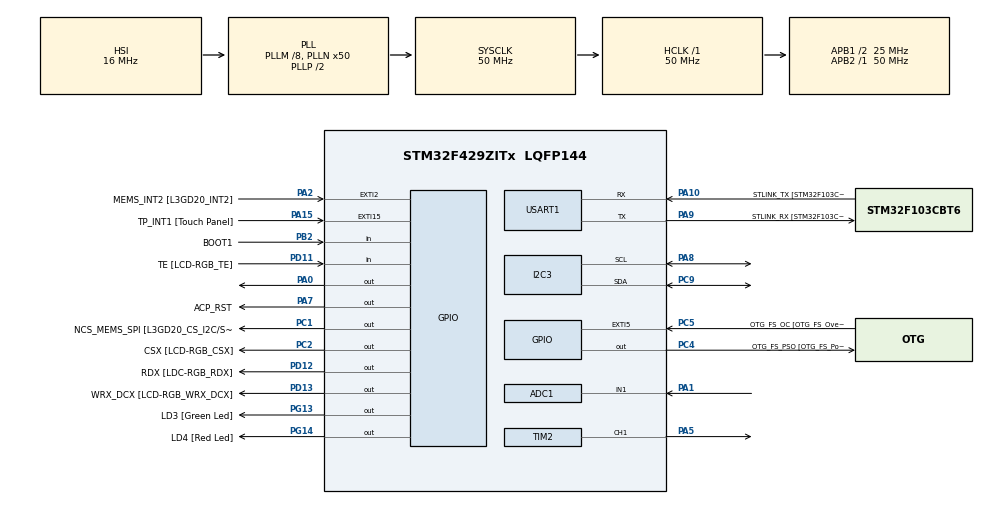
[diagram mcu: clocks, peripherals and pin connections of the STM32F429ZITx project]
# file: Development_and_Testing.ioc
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ADC1.Channel-0\#ChannelRegularConversion=ADC_CHANNEL_1
ADC1.ContinuousConvMode=ENABLE
ADC1.NbrOfConversionFlag=1
ADC1.Rank-0\#ChannelRegularConversion=1
ADC1.SamplingTime-0\#ChannelRegularConversion=ADC_SAMPLETIME_3CYCLES
ADC1.master=1
Mcu.Family=STM32F4
Mcu.Name=STM32F429ZITx
Mcu.Package=LQFP144
NVIC.PriorityGroup=NVIC_PRIORITYGROUP_0
NVIC.TIM2_IRQn=true\:0\:0\:false\:false\:true\:true\:true\:true
PA0/WKUP.Signal=GPIO_Output
PA1.Signal=ADCx_IN1
PA10.GPIO_Label=STLINK_TX [STM32F103CBT6_PA2]
PA10.Mode=Asynchronous
PA10.Signal=USART1_RX
PA11.GPIO_Label=R4
PA11.GPIO_Mode=GPIO_MODE_AF_PP
PA11.GPIO_PuPd=GPIO_NOPULL
PA11.GPIO_Speed=GPIO_SPEED_FREQ_LOW
PA11.Signal=LTDC_R4
PA12.GPIO_Label=R5
PA12.GPIO_Mode=GPIO_MODE_AF_PP
PA12.GPIO_PuPd=GPIO_NOPULL
PA12.GPIO_Speed=GPIO_SPEED_FREQ_LOW
PA12.Signal=LTDC_R5
PA13.GPIO_Label=SWDIO
PA13.Signal=SYS_JTMS-SWDIO
PA14.GPIO_Label=SWCLK
PA14.Signal=SYS_JTCK-SWCLK
PA15.GPIO_Label=TP_INT1 [Touch Panel]
PA15.GPIO_ModeDefaultEXTI=GPIO_MODE_EVT_RISING
PA15.GPIO_PuPd=GPIO_NOPULL
PA15.Signal=GPXTI15
PA2.GPIO_Label=MEMS_INT2 [L3GD20_INT2]
PA2.GPIO_ModeDefaultEXTI=GPIO_MODE_EVT_RISING
PA2.GPIO_PuPd=GPIO_NOPULL
PA2.Signal=GPXTI2
PA3.GPIO_Label=B5
PA3.GPIO_Mode=GPIO_MODE_AF_PP
PA3.GPIO_PuPd=GPIO_NOPULL
PA3.GPIO_Speed=GPIO_SPEED_FREQ_LOW
PA3.Signal=LTDC_B5
PA4.GPIO_Label=VSYNC
PA4.GPIO_Mode=GPIO_MODE_AF_PP
PA4.GPIO_PuPd=GPIO_NOPULL
PA4.GPIO_Speed=GPIO_SPEED_FREQ_LOW
PA4.Signal=LTDC_VSYNC
PA5.Signal=S_TIM2_CH1_ETR
PA6.GPIO_Label=G2
PA6.GPIO_Mode=GPIO_MODE_AF_PP
PA6.GPIO_PuPd=GPIO_NOPULL
PA6.GPIO_Speed=GPIO_SPEED_FREQ_LOW
PA6.Signal=LTDC_G2
PA7.GPIO_Label=ACP_RST
PA7.GPIO_Mode=GPIO_MODE_OUTPUT_PP
PA7.GPIO_PuPd=GPIO_NOPULL
PA7.GPIO_Speed=GPIO_SPEED_FREQ_LOW
PA7.Signal=GPIO_Output
PA8.Mode=I2C
PA8.Signal=I2C3_SCL
PA9.GPIO_Label=STLINK_RX [STM32F103CBT6_PA3]
PA9.Mode=Asynchronous
PA9.Signal=USART1_TX
PB0.GPIO_Label=R3
PB0.GPIO_Mode=GPIO_MODE_AF_PP
PB0.GPIO_PuPd=GPIO_NOPULL
PB0.GPIO_Speed=GPIO_SPEED_FREQ_LOW
PB0.Signal=LTDC_R3
PB1.GPIO_Label=R6
PB1.GPIO_Mode=GPIO_MODE_AF_PP
PB1.GPIO_PuPd=GPIO_NOPULL
PB1.GPIO_Speed=GPIO_SPEED_FREQ_LOW
PB1.Signal=LTDC_R6
PB12.GPIO_Label=OTG_HS_ID
PB12.GPIO_Mode=GPIO_MODE_AF_PP
PB12.GPIO_PuPd=GPIO_NOPULL
PB12.GPIO_Speed=GPIO_SPEED_FREQ_LOW
PB12.Signal=USB_OTG_HS_ID
PB13.GPIO_Label=VBUS_HS
PB13.GPIO_Mode=GPIO_MODE_INPUT
PB13.GPIO_PuPd=GPIO_NOPULL
PB13.Signal=USB_OTG_HS_VBUS
PB14.GPIO_Label=OTG_HS_DM
PB14.GPIO_Mode=GPIO_MODE_AF_PP
PB14.GPIO_PuPd=GPIO_NOPULL
PB14.GPIO_Speed=GPIO_SPEED_FREQ_LOW
PB14.Signal=USB_OTG_HS_DM
PB15.GPIO_Label=OTG_HS_DP
PB15.GPIO_Mode=GPIO_MODE_AF_PP
PB15.GPIO_PuPd=GPIO_NOPULL
PB15.GPIO_Speed=GPIO_SPEED_FREQ_LOW
PB15.Signal=USB_OTG_HS_DP
PB2/BOOT1.GPIO_Label=BOOT1
PB2/BOOT1.GPIO_Mode=GPIO_MODE_INPUT
PB2/BOOT1.GPIO_PuPd=GPIO_NOPULL
PB2/BOOT1.Signal=GPIO_Input
PB5.GPIO_Label=SDCKE1
PB5.GPIO_Mode=GPIO_MODE_AF_PP
PB5.GPIO_PuPd=GPIO_NOPULL
PB5.GPIO_Speed=GPIO_SPEED_FREQ_VERY_HIGH
PB5.Signal=FMC_SDCKE1
PB6.GPIO_Label=SDNE1 [SDRAM_CS]
PB6.GPIO_Mode=GPIO_MODE_AF_PP
PB6.GPIO_PuPd=GPIO_NOPULL
PB6.GPIO_Speed=GPIO_SPEED_FREQ_VERY_HIGH
PB6.Signal=FMC_SDNE1
PB8.GPIO_Label=B6
PB8.GPIO_Mode=GPIO_MODE_AF_PP
PB8.GPIO_PuPd=GPIO_NOPULL
PB8.GPIO_Speed=GPIO_SPEED_FREQ_LOW
PB8.Signal=LTDC_B6
PB9.GPIO_Label=B7
PB9.GPIO_Mode=GPIO_MODE_AF_PP
PB9.GPIO_PuPd=GPIO_NOPULL
PB9.GPIO_Speed=GPIO_SPEED_FREQ_LOW
PB9.Signal=LTDC_B7
PC0.GPIO_Label=SDNWE
PC0.GPIO_Mode=GPIO_MODE_AF_PP
PC0.GPIO_PuPd=GPIO_NOPULL
PC0.GPIO_Speed=GPIO_SPEED_FREQ_VERY_HIGH
PC0.Signal=FMC_SDNWE
PC1.GPIO_Label=NCS_MEMS_SPI [L3GD20_CS_I2C/SPI]
PC1.GPIO_Mode=GPIO_MODE_OUTPUT_PP
PC1.GPIO_PuPd=GPIO_NOPULL
PC1.GPIO_Speed=GPIO_SPEED_FREQ_LOW
PC1.Signal=GPIO_Output
PC10.GPIO_Label=R2
PC10.GPIO_Mode=GPIO_MODE_AF_PP
PC10.GPIO_PuPd=GPIO_NOPULL
PC10.GPIO_Speed=GPIO_SPEED_FREQ_LOW
PC10.Signal=LTDC_R2
PC14/OSC32_IN.GPIO_Label=PC14-OSC32_IN
PC14/OSC32_IN.Signal=RCC_OSC32_IN
PC15/OSC32_OUT.GPIO_Label=PC15-OSC32_OUT
PC15/OSC32_OUT.Signal=RCC_OSC32_OUT
PC2.GPIO_Label=CSX [LCD-RGB_CSX]
PC2.GPIO_Mode=GPIO_MODE_OUTPUT_PP
PC2.GPIO_PuPd=GPIO_NOPULL
PC2.GPIO_Speed=GPIO_SPEED_FREQ_LOW
PC2.Signal=GPIO_Output
PC4.GPIO_Label=OTG_FS_PSO [OTG_FS_PowerSwitchOn]
PC4.GPIO_Mode=GPIO_MODE_OUTPUT_PP
PC4.GPIO_PuPd=GPIO_NOPULL
PC4.GPIO_Speed=GPIO_SPEED_FREQ_LOW
PC4.Signal=GPIO_Output
PC5.GPIO_Label=OTG_FS_OC [OTG_FS_OverCurrent]
PC5.GPIO_ModeDefaultEXTI=GPIO_MODE_EVT_RISING
PC5.Signal=GPXTI5
PC6.GPIO_Label=HSYNC
PC6.GPIO_Mode=GPIO_MODE_AF_PP
PC6.GPIO_PuPd=GPIO_NOPULL
PC6.GPIO_Speed=GPIO_SPEED_FREQ_LOW
PC6.Signal=LTDC_HSYNC
PC7.GPIO_Label=G6
PC7.GPIO_Mode=GPIO_MODE_AF_PP
PC7.GPIO_PuPd=GPIO_NOPULL
PC7.GPIO_Speed=GPIO_SPEED_FREQ_LOW
PC7.Signal=LTDC_G6
PC9.Mode=I2C
PC9.Signal=I2C3_SDA
PD0.GPIO_Label=D2
PD0.GPIO_Mode=GPIO_MODE_AF_PP
PD0.GPIO_PuPd=GPIO_NOPULL
PD0.GPIO_Speed=GPIO_SPEED_FREQ_VERY_HIGH
PD0.Signal=FMC_D2_DA2
PD1.GPIO_Label=D3
PD1.GPIO_Mode=GPIO_MODE_AF_PP
PD1.GPIO_PuPd=GPIO_NOPULL
PD1.GPIO_Speed=GPIO_SPEED_FREQ_VERY_HIGH
PD1.Signal=FMC_D3_DA3
PD10.GPIO_Label=D15
PD10.GPIO_Mode=GPIO_MODE_AF_PP
PD10.GPIO_PuPd=GPIO_NOPULL
PD10.GPIO_Speed=GPIO_SPEED_FREQ_VERY_HIGH
PD10.Signal=FMC_D15_DA15
PD11.GPIO_Label=TE [LCD-RGB_TE]
PD11.GPIO_Mode=GPIO_MODE_INPUT
PD11.GPIO_PuPd=GPIO_NOPULL
PD11.Signal=GPIO_Input
PD12.GPIO_Label=RDX [LDC-RGB_RDX]
PD12.GPIO_Mode=GPIO_MODE_OUTPUT_PP
PD12.GPIO_PuPd=GPIO_NOPULL
PD12.GPIO_Speed=GPIO_SPEED_FREQ_LOW
PD12.Signal=GPIO_Output
PD13.GPIO_Label=WRX_DCX [LCD-RGB_WRX_DCX]
PD13.GPIO_Mode=GPIO_MODE_OUTPUT_PP
PD13.GPIO_PuPd=GPIO_NOPULL
PD13.GPIO_Speed=GPIO_SPEED_FREQ_LOW
PD13.Signal=GPIO_Output
PD14.GPIO_Label=D0
PD14.GPIO_Mode=GPIO_MODE_AF_PP
PD14.GPIO_PuPd=GPIO_NOPULL
PD14.GPIO_Speed=GPIO_SPEED_FREQ_VERY_HIGH
PD14.Signal=FMC_D0_DA0
PD15.GPIO_Label=D1
PD15.GPIO_Mode=GPIO_MODE_AF_PP
PD15.GPIO_PuPd=GPIO_NOPULL
PD15.GPIO_Speed=GPIO_SPEED_FREQ_VERY_HIGH
PD15.Signal=FMC_D1_DA1
PD3.GPIO_Label=G7
PD3.GPIO_Mode=GPIO_MODE_AF_PP
PD3.GPIO_PuPd=GPIO_NOPULL
PD3.GPIO_Speed=GPIO_SPEED_FREQ_LOW
PD3.Signal=LTDC_G7
PD6.GPIO_Label=B2
PD6.GPIO_Mode=GPIO_MODE_AF_PP
PD6.GPIO_PuPd=GPIO_NOPULL
PD6.GPIO_Speed=GPIO_SPEED_FREQ_LOW
PD6.Signal=LTDC_B2
PD8.GPIO_Label=D13
PD8.GPIO_Mode=GPIO_MODE_AF_PP
PD8.GPIO_PuPd=GPIO_NOPULL
PD8.GPIO_Speed=GPIO_SPEED_FREQ_VERY_HIGH
PD8.Signal=FMC_D13_DA13
PD9.GPIO_Label=D14
PD9.GPIO_Mode=GPIO_MODE_AF_PP
PD9.GPIO_PuPd=GPIO_NOPULL
PD9.GPIO_Speed=GPIO_SPEED_FREQ_VERY_HIGH
PD9.Signal=FMC_D14_DA14
PE0.GPIO_Label=NBL0 [SDRAM_LDQM]
PE0.GPIO_Mode=GPIO_MODE_AF_PP
PE0.GPIO_PuPd=GPIO_NOPULL
PE0.GPIO_Speed=GPIO_SPEED_FREQ_VERY_HIGH
PE0.Signal=FMC_NBL0
PE1.GPIO_Label=NBL1 [SDRAM_UDQM]
PE1.GPIO_Mode=GPIO_MODE_AF_PP
PE1.GPIO_PuPd=GPIO_NOPULL
PE1.GPIO_Speed=GPIO_SPEED_FREQ_VERY_HIGH
PE1.Signal=FMC_NBL1
PE10.GPIO_Label=D7
PE10.GPIO_Mode=GPIO_MODE_AF_PP
PE10.GPIO_PuPd=GPIO_NOPULL
PE10.GPIO_Speed=GPIO_SPEED_FREQ_VERY_HIGH
PE10.Signal=FMC_D7_DA7
PE11.GPIO_Label=D8
PE11.GPIO_Mode=GPIO_MODE_AF_PP
PE11.GPIO_PuPd=GPIO_NOPULL
PE11.GPIO_Speed=GPIO_SPEED_FREQ_VERY_HIGH
PE11.Signal=FMC_D8_DA8
PE12.GPIO_Label=D9
PE12.GPIO_Mode=GPIO_MODE_AF_PP
PE12.GPIO_PuPd=GPIO_NOPULL
PE12.GPIO_Speed=GPIO_SPEED_FREQ_VERY_HIGH
PE12.Signal=FMC_D9_DA9
PE13.GPIO_Label=D10
PE13.GPIO_Mode=GPIO_MODE_AF_PP
PE13.GPIO_PuPd=GPIO_NOPULL
PE13.GPIO_Speed=GPIO_SPEED_FREQ_VERY_HIGH
PE13.Signal=FMC_D10_DA10
PE14.GPIO_Label=D11
PE14.GPIO_Mode=GPIO_MODE_AF_PP
PE14.GPIO_PuPd=GPIO_NOPULL
PE14.GPIO_Speed=GPIO_SPEED_FREQ_VERY_HIGH
PE14.Signal=FMC_D11_DA11
PE15.GPIO_Label=D12
PE15.GPIO_Mode=GPIO_MODE_AF_PP
PE15.GPIO_PuPd=GPIO_NOPULL
PE15.GPIO_Speed=GPIO_SPEED_FREQ_VERY_HIGH
PE15.Signal=FMC_D12_DA12
PE7.GPIO_Label=D4
PE7.GPIO_Mode=GPIO_MODE_AF_PP
PE7.GPIO_PuPd=GPIO_NOPULL
PE7.GPIO_Speed=GPIO_SPEED_FREQ_VERY_HIGH
PE7.Signal=FMC_D4_DA4
PE8.GPIO_Label=D5
PE8.GPIO_Mode=GPIO_MODE_AF_PP
PE8.GPIO_PuPd=GPIO_NOPULL
PE8.GPIO_Speed=GPIO_SPEED_FREQ_VERY_HIGH
PE8.Signal=FMC_D5_DA5
PE9.GPIO_Label=D6
PE9.GPIO_Mode=GPIO_MODE_AF_PP
PE9.GPIO_PuPd=GPIO_NOPULL
PE9.GPIO_Speed=GPIO_SPEED_FREQ_VERY_HIGH
PE9.Signal=FMC_D6_DA6
PF0.GPIO_Label=A0
PF0.GPIO_Mode=GPIO_MODE_AF_PP
PF0.GPIO_PuPd=GPIO_NOPULL
PF0.GPIO_Speed=GPIO_SPEED_FREQ_VERY_HIGH
PF0.Signal=FMC_A0
PF1.GPIO_Label=A1
PF1.GPIO_Mode=GPIO_MODE_AF_PP
PF1.GPIO_PuPd=GPIO_NOPULL
PF1.GPIO_Speed=GPIO_SPEED_FREQ_VERY_HIGH
PF1.Signal=FMC_A1
PF10.GPIO_Label=ENABLE [LCD-RGB_ENABLE]
PF10.GPIO_Mode=GPIO_MODE_AF_PP
PF10.GPIO_PuPd=GPIO_NOPULL
PF10.GPIO_Speed=GPIO_SPEED_FREQ_LOW
PF10.Signal=LTDC_DE
PF11.GPIO_Label=SDNRAS
PF11.GPIO_Mode=GPIO_MODE_AF_PP
PF11.GPIO_PuPd=GPIO_NOPULL
PF11.GPIO_Speed=GPIO_SPEED_FREQ_VERY_HIGH
PF11.Signal=FMC_SDNRAS
PF12.GPIO_Label=A6
PF12.GPIO_Mode=GPIO_MODE_AF_PP
PF12.GPIO_PuPd=GPIO_NOPULL
PF12.GPIO_Speed=GPIO_SPEED_FREQ_VERY_HIGH
PF12.Signal=FMC_A6
PF13.GPIO_Label=A7
PF13.GPIO_Mode=GPIO_MODE_AF_PP
PF13.GPIO_PuPd=GPIO_NOPULL
PF13.GPIO_Speed=GPIO_SPEED_FREQ_VERY_HIGH
PF13.Signal=FMC_A7
PF14.GPIO_Label=A8
PF14.GPIO_Mode=GPIO_MODE_AF_PP
PF14.GPIO_PuPd=GPIO_NOPULL
PF14.GPIO_Speed=GPIO_SPEED_FREQ_VERY_HIGH
PF14.Signal=FMC_A8
PF15.GPIO_Label=A9
PF15.GPIO_Mode=GPIO_MODE_AF_PP
PF15.GPIO_PuPd=GPIO_NOPULL
PF15.GPIO_Speed=GPIO_SPEED_FREQ_VERY_HIGH
PF15.Signal=FMC_A9
PF2.GPIO_Label=A2
PF2.GPIO_Mode=GPIO_MODE_AF_PP
PF2.GPIO_PuPd=GPIO_NOPULL
PF2.GPIO_Speed=GPIO_SPEED_FREQ_VERY_HIGH
PF2.Signal=FMC_A2
PF3.GPIO_Label=A3
PF3.GPIO_Mode=GPIO_MODE_AF_PP
PF3.GPIO_PuPd=GPIO_NOPULL
PF3.GPIO_Speed=GPIO_SPEED_FREQ_VERY_HIGH
PF3.Signal=FMC_A3
PF4.GPIO_Label=A4
PF4.GPIO_Mode=GPIO_MODE_AF_PP
PF4.GPIO_PuPd=GPIO_NOPULL
PF4.GPIO_Speed=GPIO_SPEED_FREQ_VERY_HIGH
PF4.Signal=FMC_A4
PF7.GPIO_Label=SPI5_SCK [L3GD20_SCL/SPC]
PF7.GPIO_Mode=GPIO_MODE_AF_PP
PF7.GPIO_PuPd=GPIO_NOPULL
PF7.GPIO_Speed=GPIO_SPEED_FREQ_LOW
PF7.Signal=SPI5_SCK
PF8.GPIO_Label=SPI5_MISO [L3GD20_SDO]
PF8.GPIO_Mode=GPIO_MODE_AF_PP
PF8.GPIO_PuPd=GPIO_NOPULL
PF8.GPIO_Speed=GPIO_SPEED_FREQ_LOW
PF8.Signal=SPI5_MISO
PF9.GPIO_Label=SPI5_MOSI [L3GD20_SDA/SDI/SDO]
PF9.GPIO_Mode=GPIO_MODE_AF_PP
PF9.GPIO_PuPd=GPIO_NOPULL
PF9.GPIO_Speed=GPIO_SPEED_FREQ_LOW
PF9.Signal=SPI5_MOSI
PG0.GPIO_Label=A10
PG0.GPIO_Mode=GPIO_MODE_AF_PP
PG0.GPIO_PuPd=GPIO_NOPULL
PG0.GPIO_Speed=GPIO_SPEED_FREQ_VERY_HIGH
PG0.Signal=FMC_A10
PG1.GPIO_Label=A11
PG1.GPIO_Mode=GPIO_MODE_AF_PP
PG1.GPIO_PuPd=GPIO_NOPULL
PG1.GPIO_Speed=GPIO_SPEED_FREQ_VERY_HIGH
PG1.Signal=FMC_A11
PG10.GPIO_Label=G3
PG10.GPIO_Mode=GPIO_MODE_AF_PP
PG10.GPIO_PuPd=GPIO_NOPULL
PG10.GPIO_Speed=GPIO_SPEED_FREQ_LOW
PG10.Signal=LTDC_G3
PG11.GPIO_Label=B3
PG11.GPIO_Mode=GPIO_MODE_AF_PP
PG11.GPIO_PuPd=GPIO_NOPULL
PG11.GPIO_Speed=GPIO_SPEED_FREQ_LOW
PG11.Signal=LTDC_B3
PG12.GPIO_Label=B4
PG12.GPIO_Mode=GPIO_MODE_AF_PP
PG12.GPIO_PuPd=GPIO_NOPULL
PG12.GPIO_Speed=GPIO_SPEED_FREQ_LOW
PG12.Signal=LTDC_B4
PG13.GPIO_Label=LD3 [Green Led]
PG13.GPIO_Mode=GPIO_MODE_OUTPUT_PP
PG13.GPIO_PuPd=GPIO_NOPULL
PG13.GPIO_Speed=GPIO_SPEED_FREQ_LOW
PG13.Signal=GPIO_Output
PG14.GPIO_Label=LD4 [Red Led]
PG14.GPIO_Mode=GPIO_MODE_OUTPUT_PP
PG14.GPIO_PuPd=GPIO_NOPULL
PG14.GPIO_Speed=GPIO_SPEED_FREQ_LOW
PG14.Signal=GPIO_Output
PG15.GPIO_Label=SDNCAS
PG15.GPIO_Mode=GPIO_MODE_AF_PP
PG15.GPIO_PuPd=GPIO_NOPULL
PG15.GPIO_Speed=GPIO_SPEED_FREQ_VERY_HIGH
PG15.Signal=FMC_SDNCAS
PG4.GPIO_Label=BA0
PG4.GPIO_Mode=GPIO_MODE_AF_PP
PG4.GPIO_PuPd=GPIO_NOPULL
PG4.GPIO_Speed=GPIO_SPEED_FREQ_VERY_HIGH
PG4.Signal=FMC_A14_BA0
PG5.GPIO_Label=BA1
PG5.GPIO_Mode=GPIO_MODE_AF_PP
PG5.GPIO_PuPd=GPIO_NOPULL
PG5.GPIO_Speed=GPIO_SPEED_FREQ_VERY_HIGH
PG5.Signal=FMC_A15_BA1
PG6.GPIO_Label=R7
PG6.GPIO_Mode=GPIO_MODE_AF_PP
PG6.GPIO_PuPd=GPIO_NOPULL
PG6.GPIO_Speed=GPIO_SPEED_FREQ_LOW
PG6.Signal=LTDC_R7
PG7.GPIO_Label=DOTCLK [LCT-RGB_DOTCLK]
PG7.GPIO_Mode=GPIO_MODE_AF_PP
PG7.GPIO_PuPd=GPIO_NOPULL
PG7.GPIO_Speed=GPIO_SPEED_FREQ_LOW
PG7.Signal=LTDC_CLK
PG8.GPIO_Label=SDCLK
PG8.GPIO_Mode=GPIO_MODE_AF_PP
PG8.GPIO_PuPd=GPIO_NOPULL
PG8.GPIO_Speed=GPIO_SPEED_FREQ_VERY_HIGH
PG8.Signal=FMC_SDCLK
PH0/OSC_IN.GPIO_Label=PH0-OSC_IN
PH0/OSC_IN.Mode=HSE-External-Oscillator
PH0/OSC_IN.Signal=RCC_OSC_IN
PH1/OSC_OUT.GPIO_Label=PH1-OSC_OUT
PH1/OSC_OUT.Mode=HSE-External-Oscillator
PH1/OSC_OUT.Signal=RCC_OSC_OUT
ProjectManager.HeapSize=0x200
ProjectManager.StackSize=0x400
ProjectManager.TargetToolchain=STM32CubeIDE
RCC.48MHZClocksFreq_Value=14285714.285714285
RCC.AHBFreq_Value=50000000
RCC.APB1CLKDivider=RCC_HCLK_DIV2
RCC.APB1Freq_Value=25000000
RCC.APB1TimFreq_Value=50000000
RCC.APB2Freq_Value=50000000
RCC.APB2TimFreq_Value=50000000
RCC.CortexFreq_Value=50000000
RCC.HCLKFreq_Value=50000000
RCC.HSE_VALUE=8000000
RCC.HSI_VALUE=16000000
RCC.LSE_VALUE=32768
RCC.PLLM=8
RCC.PLLN=50
RCC.PLLQ=7
RCC.SYSCLKFreq_VALUE=50000000
RCC.SYSCLKSource=RCC_SYSCLKSOURCE_PLLCLK
RCC.VCOOutputFreq_Value=100000000
SH.ADCx_IN1.0=ADC1_IN1,IN1
SH.FMC_A0.0=FMC_A0
SH.FMC_A1.0=FMC_A1
SH.FMC_A10.0=FMC_A10
SH.FMC_A11.0=FMC_A11
SH.FMC_A14_BA0.0=FMC_BA0
SH.FMC_A15_BA1.0=FMC_BA1
SH.FMC_A2.0=FMC_A2
SH.FMC_A3.0=FMC_A3
SH.FMC_A4.0=FMC_A4
SH.FMC_A6.0=FMC_A6
SH.FMC_A7.0=FMC_A7
SH.FMC_A8.0=FMC_A8
SH.FMC_A9.0=FMC_A9
SH.FMC_D0_DA0.0=FMC_D0
SH.FMC_D10_DA10.0=FMC_D10
SH.FMC_D11_DA11.0=FMC_D11
SH.FMC_D12_DA12.0=FMC_D12
SH.FMC_D13_DA13.0=FMC_D13
SH.FMC_D14_DA14.0=FMC_D14
SH.FMC_D15_DA15.0=FMC_D15
SH.FMC_D1_DA1.0=FMC_D1
SH.FMC_D2_DA2.0=FMC_D2
SH.FMC_D3_DA3.0=FMC_D3
SH.FMC_D4_DA4.0=FMC_D4
SH.FMC_D5_DA5.0=FMC_D5
SH.FMC_D6_DA6.0=FMC_D6
SH.FMC_D7_DA7.0=FMC_D7
SH.FMC_D8_DA8.0=FMC_D8
SH.FMC_D9_DA9.0=FMC_D9
SH.FMC_NBL0.0=FMC_NBL0
SH.FMC_NBL1.0=FMC_NBL1
SH.FMC_SDCLK.0=FMC_SDCLK
SH.FMC_SDNCAS.0=FMC_SDNCAS
SH.FMC_SDNRAS.0=FMC_SDNRAS
SH.FMC_SDNWE.0=FMC_SDNWE
SH.S_TIM2_CH1_ETR.0=TIM2_CH1,PWM Generation1 CH1
TIM1.Period=0xffff-1
TIM1.Prescaler=50-1
TIM2.Channel-PWM\ Generation1\ CH1=TIM_CHANNEL_1
TIM2.Period=20000
TIM2.Prescaler=50-1
TIM2.Pulse-PWM\ Generation1\ CH1=2000
USART1.VirtualMode=VM_ASYNC
VP_TIM1_VS_ClockSourceINT.Mode=Internal
VP_TIM2_VS_ClockSourceINT.Mode=Internal
board=STM32F429I-DISC1

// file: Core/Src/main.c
/* USER CODE BEGIN Header */
/**
  ******************************************************************************
  * @file           : main.c
  * @brief          : Main program body
  ******************************************************************************
  * @attention
  *
  * Copyright (c) 2022 STMicroelectronics.
  * All rights reserved.
  *
  * This software is licensed under terms that can be found in the LICENSE file
  * in the root directory of this software component.
  * If no LICENSE file comes with this software, it is provided AS-IS.
  *
  ******************************************************************************
  */
/* USER CODE END Header */
#include "main.h"

/* USER CODE BEGIN Includes */
//#include "Servo_Motor.h"
#include	<string.h>
#include	<stdio.h>
//#include "DelayMicroSec.h"
#include	"DHT11.h"
#include	"mpu6050.h"
/* USER CODE END Includes */

 ADC_HandleTypeDef hadc1;

I2C_HandleTypeDef hi2c3;

TIM_HandleTypeDef htim1;
TIM_HandleTypeDef htim2;

UART_HandleTypeDef huart1;

/* USER CODE BEGIN PV */
dht11_typedef_t sensor;
mpu6050_t	mpu6050;
/* USER CODE END PV */

void SystemClock_Config(void);
static void MX_GPIO_Init(void);
static void MX_TIM2_Init(void);
static void MX_ADC1_Init(void);
static void MX_TIM1_Init(void);
static void MX_USART1_UART_Init(void);
static void MX_I2C3_Init(void);
/* USER CODE BEGIN PFP */
void delayus(uint16_t time){
	//To be implemented in main.c
	__HAL_TIM_SET_COUNTER(&htim1, 0);
		while ((__HAL_TIM_GET_COUNTER(&htim1))<time);
}

///*#define MPU6050_ADDR 0xD0
//
//
//#define SMPLRT_DIV_REG 0x19
//#define GYRO_CONFIG_REG 0x1B
//#define ACCEL_CONFIG_REG 0x1C
//#define ACCEL_XOUT_H_REG 0x3B
//#define TEMP_OUT_H_REG 0x41
//#define GYRO_XOUT_H_REG 0x43
//#define PWR_MGMT_1_REG 0x6B
//#define WHO_AM_I_REG 0x75
//
//
//int16_t Accel_X_RAW = 0;
//int16_t Accel_Y_RAW = 0;
//int16_t Accel_Z_RAW = 0;
//
//int16_t Gyro_X_RAW = 0;
//int16_t Gyro_Y_RAW = 0;
//int16_t Gyro_Z_RAW = 0;
//
//float Ax, Ay, Az, Gx, Gy, Gz;
//
//
//void MPU6050_Init (void)
//{
//	uint8_t check;
//	uint8_t Data;
//
//	// check device ID WHO_AM_I
//
//	HAL_I2C_Mem_Read (&hi2c3, MPU6050_ADDR,WHO_AM_I_REG,1, &check, 1, 1000);
//
//	if (check == 104)  // 0x68 will be returned by the sensor if everything goes well
//	{
//		// power management register 0X6B we should write all 0's to wake the sensor up
//		Data = 0;
//		HAL_I2C_Mem_Write(&hi2c3, MPU6050_ADDR, PWR_MGMT_1_REG, 1,&Data, 1, 1000);
//
//		// Set DATA RATE of 1KHz by writing SMPLRT_DIV register
//		Data = 0x07;
//		HAL_I2C_Mem_Write(&hi2c3, MPU6050_ADDR, SMPLRT_DIV_REG, 1, &Data, 1, 1000);
//
//		// Set accelerometer configuration in ACCEL_CONFIG Register
//		// XA_ST=0,YA_ST=0,ZA_ST=0, FS_SEL=0 -> ± 2g
//		Data = 0x00;
//		HAL_I2C_Mem_Write(&hi2c3, MPU6050_ADDR, ACCEL_CONFIG_REG, 1, &Data, 1, 1000);
//
//		// Set Gyroscopic configuration in GYRO_CONFIG Register
//		// XG_ST=0,YG_ST=0,ZG_ST=0, FS_SEL=0 -> ± 250 °/s
//		Data = 0x00;
//		HAL_I2C_Mem_Write(&hi2c3, MPU6050_ADDR, GYRO_CONFIG_REG, 1, &Data, 1, 1000);
//	}
//
//}
//
//
//void MPU6050_Read_Accel (void)
//{
//	uint8_t Rec_Data[6];
//
//	// Read 6 BYTES of data starting from ACCEL_XOUT_H register
//
//	HAL_I2C_Mem_Read (&hi2c3, MPU6050_ADDR, ACCEL_XOUT_H_REG, 1, Rec_Data, 6, 1000);
//
//	Accel_X_RAW = (int16_t)(Rec_Data[0] << 8 | Rec_Data [1]);
//	Accel_Y_RAW = (int16_t)(Rec_Data[2] << 8 | Rec_Data [3]);
//	Accel_Z_RAW = (int16_t)(Rec_Data[4] << 8 | Rec_Data [5]);
//
//	/*** convert the RAW values into acceleration in 'g'
//	     we have to divide according to the Full scale value set in FS_SEL
//	     I have configured FS_SEL = 0. So I am dividing by 16384.0
//	     for more details check ACCEL_CONFIG Register              ****/
//
//	Ax = Accel_X_RAW/16384.0;
//	Ay = Accel_Y_RAW/16384.0;
//	Az = Accel_Z_RAW/16384.0;
//}
//
//
//void MPU6050_Read_Gyro (void)
//{
//	uint8_t Rec_Data[6];
//
//	// Read 6 BYTES of data starting from GYRO_XOUT_H register
//
//	HAL_I2C_Mem_Read (&hi2c3, MPU6050_ADDR, GYRO_XOUT_H_REG, 1, Rec_Data, 6, 1000);
//
//	Gyro_X_RAW = (int16_t)(Rec_Data[0] << 8 | Rec_Data [1]);
//	Gyro_Y_RAW = (int16_t)(Rec_Data[2] << 8 | Rec_Data [3]);
//	Gyro_Z_RAW = (int16_t)(Rec_Data[4] << 8 | Rec_Data [5]);
//
//	/*** convert the RAW values into dps (°/s)
//	     we have to divide according to the Full scale value set in FS_SEL
//	     I have configured FS_SEL = 0. So I am dividing by 131.0
//	     for more details check GYRO_CONFIG Register              ****/
//
//	Gx = Gyro_X_RAW/131.0;
//	Gy = Gyro_Y_RAW/131.0;
//	Gz = Gyro_Z_RAW/131.0;
//}
//

/* USER CODE END PFP */

/* USER CODE BEGIN 0 */
//uint32_t adcreading;
//uint32_t convertedreading;
char msg[100];

uint32_t MAP(uint32_t au32_IN, uint32_t au32_INmin, uint32_t au32_INmax, uint32_t au32_OUTmin, uint32_t au32_OUTmax)
  {
      return ((((au32_IN - au32_INmin)*(au32_OUTmax - au32_OUTmin))/(au32_INmax - au32_INmin)) + au32_OUTmin);
  }

/* USER CODE END 0 */

int main(void)
{

  /* MCU Configuration--------------------------------------------------------*/

  /* Reset of all peripherals, Initializes the Flash interface and the Systick. */
  HAL_Init();

  /* Configure the system clock */
  SystemClock_Config();

  /* Initialize all configured peripherals */
  MX_GPIO_Init();
  MX_TIM2_Init();
  MX_ADC1_Init();
  MX_TIM1_Init();
  MX_USART1_UART_Init();
  MX_I2C3_Init();
  /* USER CODE BEGIN 2 */
  //HAL_TIM_PWM_Start(&htim2, TIM_CHANNEL_1);
  //move_servo(&htim2, 0);
  HAL_TIM_Base_Start(&htim1);
//  sensor.dhtport=GPIOA;
//  sensor.dhtpin=GPIO_PIN_8;
  //dht11_Init(sensor);
//uint8_t i=0;
//uint8_t p=0;
//float humidity=0;
//float temperature=0;
//uint8_t checksum=0;

//uint8_t Rh_byte1, Rh_byte2, Temp_byte1, Temp_byte2;
//uint16_t SUM, RH, TEMP;

//float Temperature = 0;
//float Humidity = 0;
//uint8_t Presence = 0;
  /* USER CODE END 2 */

  /* Infinite loop */
  /* USER CODE BEGIN WHILE */
//	dht11_Init(sensor);

  mpu6050.DLPF=0;
  mpu6050.SampPreSc=0x07;
  mpu6050.accFSR=ACC_2G;
  mpu6050.gyroFSR=GYRO_250;
  mpu6050.mpu6050_Clk_Src=INT_OSC;
  mpu6050.enableFIFO=FIFO_ALL;
  mpu6050Init(&mpu6050);
  //MPU6050_Init();

  while (1)
  {

//	  uint8_t	data=0;
//	  HAL_I2C_Mem_Read(&hi2c3, 0x68<<1, 0x75, 1, &data, 1, HAL_MAX_DELAY);
//	  sprintf(msg,"Checksum:%ud \r\n",data);
//	  HAL_UART_Transmit(&huart1,(uint8_t*)msg, sizeof(msg), HAL_MAX_DELAY);
//	  HAL_Delay(500);

	  /*if(p==0){
	  while(i<180){
		  move_servo(&htim2, i);
		  HAL_Delay(10);
		  i++;
	  }
	  p=1;
	  }
	  else if(p==1){
		  while(i>0){
	 		  move_servo(&htim2, i);
	 		  HAL_Delay(10);
	 		  i--;
	 	  }
		  p=0;
	  }
	 */
//	 dht11_Start();
//	 if(dht11_checkdht11status()==HAL_OK){
//		  humidity=dht11_get_humidity();
//		  temperature=dht11_get_temperature();
//		  checksum=dht11_get_checksum();
//	  }
//	 dht11_checkdht11status();
//	 humidity=dht11_get_humidity();
//	 temperature=dht11_get_temperature();
//	 checksum=dht11_get_checksum();
//
//	 gather_data(sensor);
//	 humidity=dht11_get_humidity();
//	 temperature=dht11_get_temperature();
//	 //checksum=dht11_get_checksum();
//
//	  sprintf(msg,"Humidity:%f \r\n",humidity);
//	  HAL_UART_Transmit(&huart1,(uint8_t*)msg, sizeof(msg), HAL_MAX_DELAY);
//	  HAL_Delay(500);
//
//	  sprintf(msg,"Temperature:%lf \r\n",temperature);
//	  HAL_UART_Transmit(&huart1,(uint8_t*)msg, sizeof(msg), HAL_MAX_DELAY);
//	  HAL_Delay(500);

//	  sprintf(msg,"Checksum:%u \r\n",checksum);
//	  HAL_UART_Transmit(&huart1,(uint8_t*)msg, sizeof(msg), HAL_MAX_DELAY);
//	  HAL_Delay(500);

	/* float hum=12.125;
	 sprintf(msg,"Humidity:%f \r\n",hum);
	 HAL_UART_Transmit(&huart1,(uint8_t*)msg, sizeof(msg), HAL_MAX_DELAY);

	  	  DHT11_Start();
	  	  Presence = DHT11_Check_Response();
	  	  Rh_byte1 = DHT11_Read ();
	  	  Rh_byte2 = DHT11_Read ();
	  	  Temp_byte1 = DHT11_Read ();
	  	  Temp_byte2 = DHT11_Read ();
	  	  SUM = DHT11_Read();

	  	  TEMP = ((Temp_byte1<<8)|Temp_byte2);
	  	  RH = ((Rh_byte1<<8)|Rh_byte2);

	  	  Temperature = (float) TEMP;
	  	  Humidity = (float) RH;

	  	sprintf(msg,"Temperature:%lf \r\n",Temperature);
	  	HAL_UART_Transmit(&huart1,(uint8_t*)msg, sizeof(msg), HAL_MAX_DELAY);
	  	HAL_Delay(500);

	  	sprintf(msg,"Temperature:%lf \r\n",Humidity);
	  	HAL_UART_Transmit(&huart1,(uint8_t*)msg, sizeof(msg), HAL_MAX_DELAY);
	  	HAL_Delay(500);

	  	sprintf(msg,"Checksum:%u \r\n",SUM);
	  	HAL_UART_Transmit(&huart1,(uint8_t*)msg, sizeof(msg), HAL_MAX_DELAY);
	  	HAL_Delay(500);
*/

/*
 * mpu6050 test
 */
//	  MPU6050_Read_Accel();
//	 MPU6050_Read_Gyro();
//
 gatherRawData();
//float ax=getXaccelerationFIFO(&mpu6050);//getXaccelerationRaw();
float ax=getXaccelerationRaw();
	  sprintf(msg,"AX:%f \r\n",ax);
	  HAL_UART_Transmit(&huart1,(uint8_t*)msg, sizeof(msg), HAL_MAX_DELAY);
	  HAL_Delay(500);
//	  gatherRawData();
//float ay=getYaccelerationFIFO(&mpu6050);//getYaccelerationRaw();
float ay=getYaccelerationRaw();
	  sprintf(msg,"AY:%f \r\n",ay);
	  HAL_UART_Transmit(&huart1,(uint8_t*)msg, sizeof(msg), HAL_MAX_DELAY);
	  HAL_Delay(500);
	//  gatherRawData();
//float az=getZaccelerationFIFO(&mpu6050);//getZaccelerationRaw();
float az=getZaccelerationRaw();
	  sprintf(msg,"AZ:%f \r\n",az);
	  HAL_UART_Transmit(&huart1,(uint8_t*)msg, sizeof(msg), HAL_MAX_DELAY);
	  HAL_Delay(500);
//	  gatherRawData();
//float gx=getXgyroFIFO(&mpu6050);//getXgyroRaw();
float gx=getXgyroRaw();
	  sprintf(msg,"GX:%f \r\n",gx);
	  HAL_UART_Transmit(&huart1,(uint8_t*)msg, sizeof(msg), HAL_MAX_DELAY);
	  HAL_Delay(500);
//	 gatherRawData();
//float gy=getYgyroFIFO(&mpu6050);//getYgyroRaw();
float gy=getYgyroRaw();
	  sprintf(msg,"GY:%f \r\n",gy);
	  HAL_UART_Transmit(&huart1,(uint8_t*)msg, sizeof(msg), HAL_MAX_DELAY);
	  HAL_Delay(500);
//	  gatherRawData();
//float gz=getZgyroFIFO(&mpu6050);//getZgyroRaw();
float gz=getZgyroRaw();
	  sprintf(msg,"GZ:%f \r\n",gz);
	  HAL_UART_Transmit(&huart1,(uint8_t*)msg, sizeof(msg), HAL_MAX_DELAY);
	  HAL_Delay(500);
	  //gatherRawData();
//float t=getTemperatureFIFO(&mpu6050);//getTemperatureRaw();
float t=getTemperatureRaw();
	  sprintf(msg,"T:%lf \r\n",t);
	  HAL_UART_Transmit(&huart1,(uint8_t*)msg, sizeof(msg), HAL_MAX_DELAY);
	  HAL_Delay(500);

    /* USER CODE END WHILE */

  }
}

void SystemClock_Config(void)
{
  RCC_OscInitTypeDef RCC_OscInitStruct = {0};
  RCC_ClkInitTypeDef RCC_ClkInitStruct = {0};

  /** Configure the main internal regulator output voltage
  */
  __HAL_RCC_PWR_CLK_ENABLE();
  __HAL_PWR_VOLTAGESCALING_CONFIG(PWR_REGULATOR_VOLTAGE_SCALE3);

  /** Initializes the RCC Oscillators according to the specified parameters
  * in the RCC_OscInitTypeDef structure.
  */
  RCC_OscInitStruct.OscillatorType = RCC_OSCILLATORTYPE_HSI;
  RCC_OscInitStruct.HSIState = RCC_HSI_ON;
  RCC_OscInitStruct.HSICalibrationValue = RCC_HSICALIBRATION_DEFAULT;
  RCC_OscInitStruct.PLL.PLLState = RCC_PLL_ON;
  RCC_OscInitStruct.PLL.PLLSource = RCC_PLLSOURCE_HSI;
  RCC_OscInitStruct.PLL.PLLM = 8;
  RCC_OscInitStruct.PLL.PLLN = 50;
  RCC_OscInitStruct.PLL.PLLP = RCC_PLLP_DIV2;
  RCC_OscInitStruct.PLL.PLLQ = 7;
  if (HAL_RCC_OscConfig(&RCC_OscInitStruct) != HAL_OK)
  {
    Error_Handler();
  }

  /** Initializes the CPU, AHB and APB buses clocks
  */
  RCC_ClkInitStruct.ClockType = RCC_CLOCKTYPE_HCLK|RCC_CLOCKTYPE_SYSCLK
                              |RCC_CLOCKTYPE_PCLK1|RCC_CLOCKTYPE_PCLK2;
  RCC_ClkInitStruct.SYSCLKSource = RCC_SYSCLKSOURCE_PLLCLK;
  RCC_ClkInitStruct.AHBCLKDivider = RCC_SYSCLK_DIV1;
  RCC_ClkInitStruct.APB1CLKDivider = RCC_HCLK_DIV2;
  RCC_ClkInitStruct.APB2CLKDivider = RCC_HCLK_DIV1;

  if (HAL_RCC_ClockConfig(&RCC_ClkInitStruct, FLASH_LATENCY_1) != HAL_OK)
  {
    Error_Handler();
  }
}

static void MX_ADC1_Init(void)
{

  ADC_ChannelConfTypeDef sConfig = {0};

  /** Configure the global features of the ADC (Clock, Resolution, Data Alignment and number of conversion)
  */
  hadc1.Instance = ADC1;
  hadc1.Init.ClockPrescaler = ADC_CLOCK_SYNC_PCLK_DIV2;
  hadc1.Init.Resolution = ADC_RESOLUTION_12B;
  hadc1.Init.ScanConvMode = DISABLE;
  hadc1.Init.ContinuousConvMode = ENABLE;
  hadc1.Init.DiscontinuousConvMode = DISABLE;
  hadc1.Init.ExternalTrigConvEdge = ADC_EXTERNALTRIGCONVEDGE_NONE;
  hadc1.Init.ExternalTrigConv = ADC_SOFTWARE_START;
  hadc1.Init.DataAlign = ADC_DATAALIGN_RIGHT;
  hadc1.Init.NbrOfConversion = 1;
  hadc1.Init.DMAContinuousRequests = DISABLE;
  hadc1.Init.EOCSelection = ADC_EOC_SINGLE_CONV;
  if (HAL_ADC_Init(&hadc1) != HAL_OK)
  {
    Error_Handler();
  }

  /** Configure for the selected ADC regular channel its corresponding rank in the sequencer and its sample time.
  */
  sConfig.Channel = ADC_CHANNEL_1;
  sConfig.Rank = 1;
  sConfig.SamplingTime = ADC_SAMPLETIME_3CYCLES;
  if (HAL_ADC_ConfigChannel(&hadc1, &sConfig) != HAL_OK)
  {
    Error_Handler();
  }

}

static void MX_I2C3_Init(void)
{

  hi2c3.Instance = I2C3;
  hi2c3.Init.ClockSpeed = 100000;
  hi2c3.Init.DutyCycle = I2C_DUTYCYCLE_2;
  hi2c3.Init.OwnAddress1 = 0;
  hi2c3.Init.AddressingMode = I2C_ADDRESSINGMODE_7BIT;
  hi2c3.Init.DualAddressMode = I2C_DUALADDRESS_DISABLE;
  hi2c3.Init.OwnAddress2 = 0;
  hi2c3.Init.GeneralCallMode = I2C_GENERALCALL_DISABLE;
  hi2c3.Init.NoStretchMode = I2C_NOSTRETCH_DISABLE;
  if (HAL_I2C_Init(&hi2c3) != HAL_OK)
  {
    Error_Handler();
  }

  /** Configure Analogue filter
  */
  if (HAL_I2CEx_ConfigAnalogFilter(&hi2c3, I2C_ANALOGFILTER_ENABLE) != HAL_OK)
  {
    Error_Handler();
  }

  /** Configure Digital filter
  */
  if (HAL_I2CEx_ConfigDigitalFilter(&hi2c3, 0) != HAL_OK)
  {
    Error_Handler();
  }

}

static void MX_TIM1_Init(void)
{

  TIM_ClockConfigTypeDef sClockSourceConfig = {0};
  TIM_MasterConfigTypeDef sMasterConfig = {0};

  htim1.Instance = TIM1;
  htim1.Init.Prescaler = 50-1;
  htim1.Init.CounterMode = TIM_COUNTERMODE_UP;
  htim1.Init.Period = 0xffff-1;
  htim1.Init.ClockDivision = TIM_CLOCKDIVISION_DIV1;
  htim1.Init.RepetitionCounter = 0;
  htim1.Init.AutoReloadPreload = TIM_AUTORELOAD_PRELOAD_DISABLE;
  if (HAL_TIM_Base_Init(&htim1) != HAL_OK)
  {
    Error_Handler();
  }
  sClockSourceConfig.ClockSource = TIM_CLOCKSOURCE_INTERNAL;
  if (HAL_TIM_ConfigClockSource(&htim1, &sClockSourceConfig) != HAL_OK)
  {
    Error_Handler();
  }
  sMasterConfig.MasterOutputTrigger = TIM_TRGO_RESET;
  sMasterConfig.MasterSlaveMode = TIM_MASTERSLAVEMODE_DISABLE;
  if (HAL_TIMEx_MasterConfigSynchronization(&htim1, &sMasterConfig) != HAL_OK)
  {
    Error_Handler();
  }

}

static void MX_TIM2_Init(void)
{

  TIM_ClockConfigTypeDef sClockSourceConfig = {0};
  TIM_MasterConfigTypeDef sMasterConfig = {0};
  TIM_OC_InitTypeDef sConfigOC = {0};

  htim2.Instance = TIM2;
  htim2.Init.Prescaler = 50-1;
  htim2.Init.CounterMode = TIM_COUNTERMODE_UP;
  htim2.Init.Period = 20000;
  htim2.Init.ClockDivision = TIM_CLOCKDIVISION_DIV1;
  htim2.Init.AutoReloadPreload = TIM_AUTORELOAD_PRELOAD_DISABLE;
  if (HAL_TIM_Base_Init(&htim2) != HAL_OK)
  {
    Error_Handler();
  }
  sClockSourceConfig.ClockSource = TIM_CLOCKSOURCE_INTERNAL;
  if (HAL_TIM_ConfigClockSource(&htim2, &sClockSourceConfig) != HAL_OK)
  {
    Error_Handler();
  }
  if (HAL_TIM_PWM_Init(&htim2) != HAL_OK)
  {
    Error_Handler();
  }
  sMasterConfig.MasterOutputTrigger = TIM_TRGO_RESET;
  sMasterConfig.MasterSlaveMode = TIM_MASTERSLAVEMODE_DISABLE;
  if (HAL_TIMEx_MasterConfigSynchronization(&htim2, &sMasterConfig) != HAL_OK)
  {
    Error_Handler();
  }
  sConfigOC.OCMode = TIM_OCMODE_PWM1;
  sConfigOC.Pulse = 2000;
  sConfigOC.OCPolarity = TIM_OCPOLARITY_HIGH;
  sConfigOC.OCFastMode = TIM_OCFAST_DISABLE;
  if (HAL_TIM_PWM_ConfigChannel(&htim2, &sConfigOC, TIM_CHANNEL_1) != HAL_OK)
  {
    Error_Handler();
  }
  HAL_TIM_MspPostInit(&htim2);

}

static void MX_USART1_UART_Init(void)
{

  huart1.Instance = USART1;
  huart1.Init.BaudRate = 115200;
  huart1.Init.WordLength = UART_WORDLENGTH_8B;
  huart1.Init.StopBits = UART_STOPBITS_1;
  huart1.Init.Parity = UART_PARITY_NONE;
  huart1.Init.Mode = UART_MODE_TX_RX;
  huart1.Init.HwFlowCtl = UART_HWCONTROL_NONE;
  huart1.Init.OverSampling = UART_OVERSAMPLING_16;
  if (HAL_UART_Init(&huart1) != HAL_OK)
  {
    Error_Handler();
  }

}

static void MX_GPIO_Init(void)
{
  GPIO_InitTypeDef GPIO_InitStruct = {0};

  /* GPIO Ports Clock Enable */
  __HAL_RCC_GPIOC_CLK_ENABLE();
  __HAL_RCC_GPIOF_CLK_ENABLE();
  __HAL_RCC_GPIOH_CLK_ENABLE();
  __HAL_RCC_GPIOA_CLK_ENABLE();
  __HAL_RCC_GPIOB_CLK_ENABLE();
  __HAL_RCC_GPIOG_CLK_ENABLE();
  __HAL_RCC_GPIOE_CLK_ENABLE();
  __HAL_RCC_GPIOD_CLK_ENABLE();

  /*Configure GPIO pin Output Level */
  HAL_GPIO_WritePin(GPIOC, NCS_MEMS_SPI_Pin|CSX_Pin|OTG_FS_PSO_Pin, GPIO_PIN_RESET);

  /*Configure GPIO pin Output Level */
  HAL_GPIO_WritePin(GPIOA, GPIO_PIN_0|ACP_RST_Pin, GPIO_PIN_RESET);

  /*Configure GPIO pin Output Level */
  HAL_GPIO_WritePin(GPIOD, RDX_Pin|WRX_DCX_Pin, GPIO_PIN_RESET);

  /*Configure GPIO pin Output Level */
  HAL_GPIO_WritePin(GPIOG, LD3_Pin|LD4_Pin, GPIO_PIN_RESET);

  /*Configure GPIO pins : A0_Pin A1_Pin A2_Pin A3_Pin
                           A4_Pin SDNRAS_Pin A6_Pin A7_Pin
                           A8_Pin A9_Pin */
  GPIO_InitStruct.Pin = A0_Pin|A1_Pin|A2_Pin|A3_Pin
                          |A4_Pin|SDNRAS_Pin|A6_Pin|A7_Pin
                          |A8_Pin|A9_Pin;
  GPIO_InitStruct.Mode = GPIO_MODE_AF_PP;
  GPIO_InitStruct.Pull = GPIO_NOPULL;
  GPIO_InitStruct.Speed = GPIO_SPEED_FREQ_VERY_HIGH;
  GPIO_InitStruct.Alternate = GPIO_AF12_FMC;
  HAL_GPIO_Init(GPIOF, &GPIO_InitStruct);

  /*Configure GPIO pins : SPI5_SCK_Pin SPI5_MISO_Pin SPI5_MOSI_Pin */
  GPIO_InitStruct.Pin = SPI5_SCK_Pin|SPI5_MISO_Pin|SPI5_MOSI_Pin;
  GPIO_InitStruct.Mode = GPIO_MODE_AF_PP;
  GPIO_InitStruct.Pull = GPIO_NOPULL;
  GPIO_InitStruct.Speed = GPIO_SPEED_FREQ_LOW;
  GPIO_InitStruct.Alternate = GPIO_AF5_SPI5;
  HAL_GPIO_Init(GPIOF, &GPIO_InitStruct);

  /*Configure GPIO pin : ENABLE_Pin */
  GPIO_InitStruct.Pin = ENABLE_Pin;
  GPIO_InitStruct.Mode = GPIO_MODE_AF_PP;
  GPIO_InitStruct.Pull = GPIO_NOPULL;
  GPIO_InitStruct.Speed = GPIO_SPEED_FREQ_LOW;
  GPIO_InitStruct.Alternate = GPIO_AF14_LTDC;
  HAL_GPIO_Init(ENABLE_GPIO_Port, &GPIO_InitStruct);

  /*Configure GPIO pin : SDNWE_Pin */
  GPIO_InitStruct.Pin = SDNWE_Pin;
  GPIO_InitStruct.Mode = GPIO_MODE_AF_PP;
  GPIO_InitStruct.Pull = GPIO_NOPULL;
  GPIO_InitStruct.Speed = GPIO_SPEED_FREQ_VERY_HIGH;
  GPIO_InitStruct.Alternate = GPIO_AF12_FMC;
  HAL_GPIO_Init(SDNWE_GPIO_Port, &GPIO_InitStruct);

  /*Configure GPIO pins : NCS_MEMS_SPI_Pin CSX_Pin OTG_FS_PSO_Pin */
  GPIO_InitStruct.Pin = NCS_MEMS_SPI_Pin|CSX_Pin|OTG_FS_PSO_Pin;
  GPIO_InitStruct.Mode = GPIO_MODE_OUTPUT_PP;
  GPIO_InitStruct.Pull = GPIO_NOPULL;
  GPIO_InitStruct.Speed = GPIO_SPEED_FREQ_LOW;
  HAL_GPIO_Init(GPIOC, &GPIO_InitStruct);

  /*Configure GPIO pins : PA0 ACP_RST_Pin */
  GPIO_InitStruct.Pin = GPIO_PIN_0|ACP_RST_Pin;
  GPIO_InitStruct.Mode = GPIO_MODE_OUTPUT_PP;
  GPIO_InitStruct.Pull = GPIO_NOPULL;
  GPIO_InitStruct.Speed = GPIO_SPEED_FREQ_LOW;
  HAL_GPIO_Init(GPIOA, &GPIO_InitStruct);

  /*Configure GPIO pins : MEMS_INT2_Pin TP_INT1_Pin */
  GPIO_InitStruct.Pin = MEMS_INT2_Pin|TP_INT1_Pin;
  GPIO_InitStruct.Mode = GPIO_MODE_EVT_RISING;
  GPIO_InitStruct.Pull = GPIO_NOPULL;
  HAL_GPIO_Init(GPIOA, &GPIO_InitStruct);

  /*Configure GPIO pins : B5_Pin VSYNC_Pin G2_Pin R4_Pin
                           R5_Pin */
  GPIO_InitStruct.Pin = B5_Pin|VSYNC_Pin|G2_Pin|R4_Pin
                          |R5_Pin;
  GPIO_InitStruct.Mode = GPIO_MODE_AF_PP;
  GPIO_InitStruct.Pull = GPIO_NOPULL;
  GPIO_InitStruct.Speed = GPIO_SPEED_FREQ_LOW;
  GPIO_InitStruct.Alternate = GPIO_AF14_LTDC;
  HAL_GPIO_Init(GPIOA, &GPIO_InitStruct);

  /*Configure GPIO pin : OTG_FS_OC_Pin */
  GPIO_InitStruct.Pin = OTG_FS_OC_Pin;
  GPIO_InitStruct.Mode = GPIO_MODE_EVT_RISING;
  GPIO_InitStruct.Pull = GPIO_NOPULL;
  HAL_GPIO_Init(OTG_FS_OC_GPIO_Port, &GPIO_InitStruct);

  /*Configure GPIO pins : R3_Pin R6_Pin */
  GPIO_InitStruct.Pin = R3_Pin|R6_Pin;
  GPIO_InitStruct.Mode = GPIO_MODE_AF_PP;
  GPIO_InitStruct.Pull = GPIO_NOPULL;
  GPIO_InitStruct.Speed = GPIO_SPEED_FREQ_LOW;
  GPIO_InitStruct.Alternate = GPIO_AF9_LTDC;
  HAL_GPIO_Init(GPIOB, &GPIO_InitStruct);

  /*Configure GPIO pin : BOOT1_Pin */
  GPIO_InitStruct.Pin = BOOT1_Pin;
  GPIO_InitStruct.Mode = GPIO_MODE_INPUT;
  GPIO_InitStruct.Pull = GPIO_NOPULL;
  HAL_GPIO_Init(BOOT1_GPIO_Port, &GPIO_InitStruct);

  /*Configure GPIO pins : A10_Pin A11_Pin BA0_Pin BA1_Pin
                           SDCLK_Pin SDNCAS_Pin */
  GPIO_InitStruct.Pin = A10_Pin|A11_Pin|BA0_Pin|BA1_Pin
                          |SDCLK_Pin|SDNCAS_Pin;
  GPIO_InitStruct.Mode = GPIO_MODE_AF_PP;
  GPIO_InitStruct.Pull = GPIO_NOPULL;
  GPIO_InitStruct.Speed = GPIO_SPEED_FREQ_VERY_HIGH;
  GPIO_InitStruct.Alternate = GPIO_AF12_FMC;
  HAL_GPIO_Init(GPIOG, &GPIO_InitStruct);

  /*Configure GPIO pins : D4_Pin D5_Pin D6_Pin D7_Pin
                           D8_Pin D9_Pin D10_Pin D11_Pin
                           D12_Pin NBL0_Pin NBL1_Pin */
  GPIO_InitStruct.Pin = D4_Pin|D5_Pin|D6_Pin|D7_Pin
                          |D8_Pin|D9_Pin|D10_Pin|D11_Pin
                          |D12_Pin|NBL0_Pin|NBL1_Pin;
  GPIO_InitStruct.Mode = GPIO_MODE_AF_PP;
  GPIO_InitStruct.Pull = GPIO_NOPULL;
  GPIO_InitStruct.Speed = GPIO_SPEED_FREQ_VERY_HIGH;
  GPIO_InitStruct.Alternate = GPIO_AF12_FMC;
  HAL_GPIO_Init(GPIOE, &GPIO_InitStruct);

  /*Configure GPIO pins : OTG_HS_ID_Pin OTG_HS_DM_Pin OTG_HS_DP_Pin */
  GPIO_InitStruct.Pin = OTG_HS_ID_Pin|OTG_HS_DM_Pin|OTG_HS_DP_Pin;
  GPIO_InitStruct.Mode = GPIO_MODE_AF_PP;
  GPIO_InitStruct.Pull = GPIO_NOPULL;
  GPIO_InitStruct.Speed = GPIO_SPEED_FREQ_LOW;
  GPIO_InitStruct.Alternate = GPIO_AF12_OTG_HS_FS;
  HAL_GPIO_Init(GPIOB, &GPIO_InitStruct);

  /*Configure GPIO pin : VBUS_HS_Pin */
  GPIO_InitStruct.Pin = VBUS_HS_Pin;
  GPIO_InitStruct.Mode = GPIO_MODE_INPUT;
  GPIO_InitStruct.Pull = GPIO_NOPULL;
  HAL_GPIO_Init(VBUS_HS_GPIO_Port, &GPIO_InitStruct);

  /*Configure GPIO pins : D13_Pin D14_Pin D15_Pin D0_Pin
                           D1_Pin D2_Pin D3_Pin */
  GPIO_InitStruct.Pin = D13_Pin|D14_Pin|D15_Pin|D0_Pin
                          |D1_Pin|D2_Pin|D3_Pin;
  GPIO_InitStruct.Mode = GPIO_MODE_AF_PP;
  GPIO_InitStruct.Pull = GPIO_NOPULL;
  GPIO_InitStruct.Speed = GPIO_SPEED_FREQ_VERY_HIGH;
  GPIO_InitStruct.Alternate = GPIO_AF12_FMC;
  HAL_GPIO_Init(GPIOD, &GPIO_InitStruct);

  /*Configure GPIO pin : TE_Pin */
  GPIO_InitStruct.Pin = TE_Pin;
  GPIO_InitStruct.Mode = GPIO_MODE_INPUT;
  GPIO_InitStruct.Pull = GPIO_NOPULL;
  HAL_GPIO_Init(TE_GPIO_Port, &GPIO_InitStruct);

  /*Configure GPIO pins : RDX_Pin WRX_DCX_Pin */
  GPIO_InitStruct.Pin = RDX_Pin|WRX_DCX_Pin;
  GPIO_InitStruct.Mode = GPIO_MODE_OUTPUT_PP;
  GPIO_InitStruct.Pull = GPIO_NOPULL;
  GPIO_InitStruct.Speed = GPIO_SPEED_FREQ_LOW;
  HAL_GPIO_Init(GPIOD, &GPIO_InitStruct);

  /*Configure GPIO pins : R7_Pin DOTCLK_Pin B3_Pin */
  GPIO_InitStruct.Pin = R7_Pin|DOTCLK_Pin|B3_Pin;
  GPIO_InitStruct.Mode = GPIO_MODE_AF_PP;
  GPIO_InitStruct.Pull = GPIO_NOPULL;
  GPIO_InitStruct.Speed = GPIO_SPEED_FREQ_LOW;
  GPIO_InitStruct.Alternate = GPIO_AF14_LTDC;
  HAL_GPIO_Init(GPIOG, &GPIO_InitStruct);

  /*Configure GPIO pins : HSYNC_Pin G6_Pin R2_Pin */
  GPIO_InitStruct.Pin = HSYNC_Pin|G6_Pin|R2_Pin;
  GPIO_InitStruct.Mode = GPIO_MODE_AF_PP;
  GPIO_InitStruct.Pull = GPIO_NOPULL;
  GPIO_InitStruct.Speed = GPIO_SPEED_FREQ_LOW;
  GPIO_InitStruct.Alternate = GPIO_AF14_LTDC;
  HAL_GPIO_Init(GPIOC, &GPIO_InitStruct);

  /*Configure GPIO pins : G7_Pin B2_Pin */
  GPIO_InitStruct.Pin = G7_Pin|B2_Pin;
  GPIO_InitStruct.Mode = GPIO_MODE_AF_PP;
  GPIO_InitStruct.Pull = GPIO_NOPULL;
  GPIO_InitStruct.Speed = GPIO_SPEED_FREQ_LOW;
  GPIO_InitStruct.Alternate = GPIO_AF14_LTDC;
  HAL_GPIO_Init(GPIOD, &GPIO_InitStruct);

  /*Configure GPIO pins : G3_Pin B4_Pin */
  GPIO_InitStruct.Pin = G3_Pin|B4_Pin;
  GPIO_InitStruct.Mode = GPIO_MODE_AF_PP;
  GPIO_InitStruct.Pull = GPIO_NOPULL;
  GPIO_InitStruct.Speed = GPIO_SPEED_FREQ_LOW;
  GPIO_InitStruct.Alternate = GPIO_AF9_LTDC;
  HAL_GPIO_Init(GPIOG, &GPIO_InitStruct);

  /*Configure GPIO pins : LD3_Pin LD4_Pin */
  GPIO_InitStruct.Pin = LD3_Pin|LD4_Pin;
  GPIO_InitStruct.Mode = GPIO_MODE_OUTPUT_PP;
  GPIO_InitStruct.Pull = GPIO_NOPULL;
  GPIO_InitStruct.Speed = GPIO_SPEED_FREQ_LOW;
  HAL_GPIO_Init(GPIOG, &GPIO_InitStruct);

  /*Configure GPIO pins : SDCKE1_Pin SDNE1_Pin */
  GPIO_InitStruct.Pin = SDCKE1_Pin|SDNE1_Pin;
  GPIO_InitStruct.Mode = GPIO_MODE_AF_PP;
  GPIO_InitStruct.Pull = GPIO_NOPULL;
  GPIO_InitStruct.Speed = GPIO_SPEED_FREQ_VERY_HIGH;
  GPIO_InitStruct.Alternate = GPIO_AF12_FMC;
  HAL_GPIO_Init(GPIOB, &GPIO_InitStruct);

  /*Configure GPIO pins : B6_Pin B7_Pin */
  GPIO_InitStruct.Pin = B6_Pin|B7_Pin;
  GPIO_InitStruct.Mode = GPIO_MODE_AF_PP;
  GPIO_InitStruct.Pull = GPIO_NOPULL;
  GPIO_InitStruct.Speed = GPIO_SPEED_FREQ_LOW;
  GPIO_InitStruct.Alternate = GPIO_AF14_LTDC;
  HAL_GPIO_Init(GPIOB, &GPIO_InitStruct);

}

void Error_Handler(void)
{
  __disable_irq();
  while (1)
  {
  }
}
